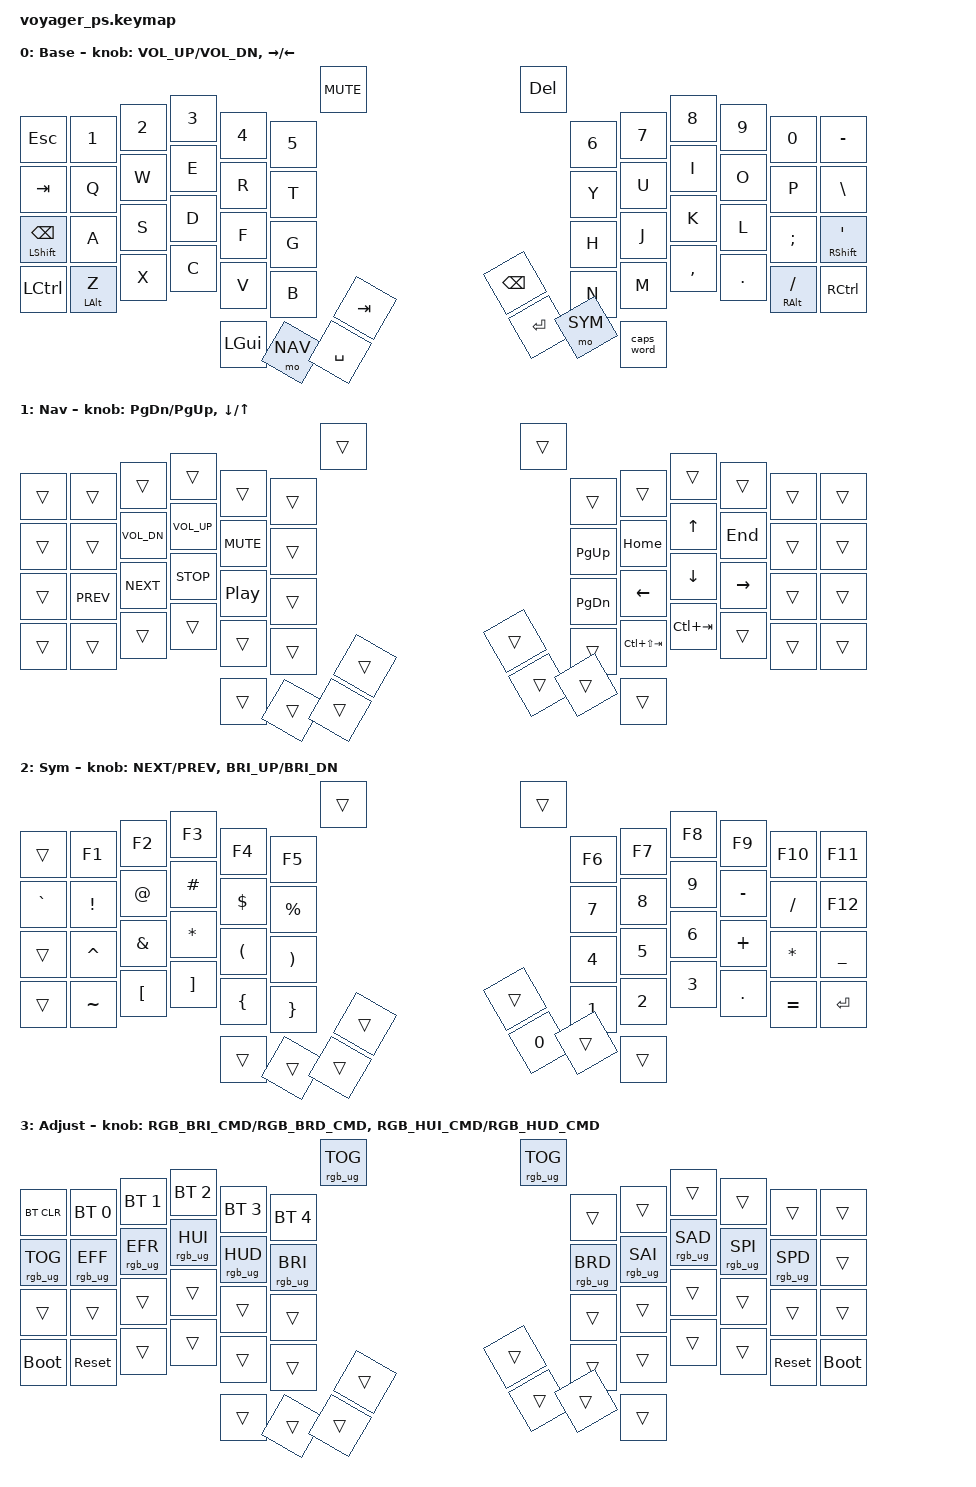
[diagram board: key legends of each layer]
#include <behaviors.dtsi>
#include <dt-bindings/zmk/keys.h>
#include <dt-bindings/zmk/bt.h>
#include <dt-bindings/zmk/rgb.h>

#define BASE 0
#define NAV  1
#define SYM  2
#define ADJ  3

/ {
    /*
     * RGB stepping for the ADJ-layer knobs. Stock &inc_dec_kp is bound to &kp;
     * this sibling is bound to &rgb_ug so each rotation tick fires an
     * RGB_*_CMD. Note that ZMK's behavior dispatcher rewrites RGB_BRI/RGB_BRD/
     * RGB_HUI/RGB_HUD into RGB_COLOR_HSB_CMD, which lands in set_hsb() —
     * upstream that path is RAM-only, so persistence depends on the
     * configure-time patch in firmware/zephyr/CMakeLists.txt. Without it,
     * brightness and hue reset on every boot.
     */
    behaviors {
        inc_dec_rgb: encoder_rgb {
            compatible = "zmk,behavior-sensor-rotate-var";
            #sensor-binding-cells = <2>;
            bindings = <&rgb_ug>, <&rgb_ug>;
        };

        /*
         * Balanced mod-tap for the Voyager-style dual keys (Shift/Bksp,
         * Shift/', Alt/Z, Alt//). "balanced" resolves as tap on fast rolls
         * (release the dual key first) and as hold when the other key is
         * pressed AND released within the tapping term — so quick capitals
         * still work mid-flow. quick-tap-ms lets tap-then-hold auto-repeat,
         * which Backspace needs.
         */
        mtb: mod_tap_balanced {
            compatible = "zmk,behavior-hold-tap";
            #binding-cells = <2>;
            flavor = "balanced";
            tapping-term-ms = <200>;
            quick-tap-ms = <175>;
            bindings = <&kp>, <&kp>;
        };
    };

    /* Hold both layer thumbs (NAV + SYM) to reach ADJ. */
    conditional_layers {
        compatible = "zmk,conditional-layers";
        adjust {
            if-layers = <NAV SYM>;
            then-layer = <ADJ>;
        };
    };

    /*
     * Encoders, by layer. Both knobs used to be bound identically on every
     * layer, so two knobs did one job. Now each side has its own role, and the
     * RGB controls moved to ADJ where the rest of them already live.
     *
     *   layer | left knob            | right knob
     *   ------+----------------------+-------------------------
     *   BASE  | volume up/down       | cursor right/left
     *   NAV   | page down/up         | cursor down/up
     *   SYM   | next/prev track      | screen brightness
     *   ADJ   | RGB brightness       | RGB hue
     *
     * Push-buttons: left = mute (pairs with the volume knob), right = Delete
     * (which is where Delete went when Backspace took its thumb key). On ADJ
     * both buttons are RGB on/off.
     *
     * Convention: clockwise is always the "more / forward" direction.
     */

    keymap {
        compatible = "zmk,keymap";

        default_layer {
            display-name = "Base";

            bindings = <
                &kp ESC         &kp N1      &kp N2  &kp N3    &kp N4   &kp N5        &kp N6    &kp N7  &kp N8     &kp N9     &kp N0         &kp MINUS
                &kp TAB         &kp Q       &kp W   &kp E     &kp R    &kp T         &kp Y     &kp U   &kp I      &kp O      &kp P          &kp BSLH
                &mtb LSHFT BSPC &kp A       &kp S   &kp D     &kp F    &kp G         &kp H     &kp J   &kp K      &kp L      &kp SEMI       &mtb RSHFT SQT
                &kp LCTRL       &mtb LALT Z &kp X   &kp C     &kp V    &kp B         &kp N     &kp M   &kp COMMA  &kp DOT    &mtb RALT FSLH &kp RCTRL
                &kp C_MUTE                  &kp LGUI &mo NAV  &kp SPACE &kp TAB      &kp BSPC  &kp RET &mo SYM    &caps_word                &kp DEL
            >;

            sensor-bindings = <&inc_dec_kp C_VOL_UP C_VOL_DN &inc_dec_kp RIGHT LEFT>;
        };

        nav_layer {
            display-name = "Nav";

            bindings = <
                &trans    &trans     &trans       &trans       &trans     &trans        &trans    &trans          &trans      &trans     &trans    &trans
                &trans    &trans     &kp C_VOL_DN &kp C_VOL_UP &kp C_MUTE &trans        &kp PG_UP &kp HOME        &kp UP      &kp END    &trans    &trans
                &trans    &kp C_PREV &kp C_NEXT   &kp C_STOP   &kp C_PP   &trans        &kp PG_DN &kp LEFT        &kp DOWN    &kp RIGHT  &trans    &trans
                &trans    &trans     &trans       &trans       &trans     &trans        &trans    &kp LC(LS(TAB)) &kp LC(TAB) &trans     &trans    &trans
                &trans               &trans       &trans       &trans     &trans        &trans    &trans          &trans      &trans               &trans
            >;

            sensor-bindings = <&inc_dec_kp PG_DN PG_UP &inc_dec_kp DOWN UP>;
        };

        sym_layer {
            display-name = "Sym";

            bindings = <
                &trans    &kp F1     &kp F2    &kp F3    &kp F4    &kp F5        &kp F6    &kp F7    &kp F8    &kp F9     &kp F10   &kp F11
                &kp GRAVE &kp EXCL   &kp AT    &kp HASH  &kp DLLR  &kp PRCNT     &kp N7    &kp N8    &kp N9    &kp MINUS  &kp FSLH  &kp F12
                &trans    &kp CARET  &kp AMPS  &kp ASTRK &kp LPAR  &kp RPAR      &kp N4    &kp N5    &kp N6    &kp PLUS   &kp ASTRK &kp UNDER
                &trans    &kp TILDE  &kp LBKT  &kp RBKT  &kp LBRC  &kp RBRC      &kp N1    &kp N2    &kp N3    &kp DOT    &kp EQUAL &kp RET
                &trans               &trans    &trans    &trans    &trans        &trans    &kp N0    &trans    &trans               &trans
            >;

            sensor-bindings = <&inc_dec_kp C_NEXT C_PREV &inc_dec_kp C_BRI_UP C_BRI_DN>;
        };

        adjust_layer {
            display-name = "Adjust";

            bindings = <
                &bt BT_CLR      &bt BT_SEL 0    &bt BT_SEL 1    &bt BT_SEL 2    &bt BT_SEL 3    &bt BT_SEL 4         &trans          &trans          &trans          &trans          &trans          &trans
                &rgb_ug RGB_TOG &rgb_ug RGB_EFF &rgb_ug RGB_EFR &rgb_ug RGB_HUI &rgb_ug RGB_HUD &rgb_ug RGB_BRI      &rgb_ug RGB_BRD &rgb_ug RGB_SAI &rgb_ug RGB_SAD &rgb_ug RGB_SPI &rgb_ug RGB_SPD &trans
                &trans          &trans          &trans          &trans          &trans          &trans               &trans          &trans          &trans          &trans          &trans          &trans
                &bootloader     &sys_reset      &trans          &trans          &trans          &trans               &trans          &trans          &trans          &trans          &sys_reset      &bootloader
                &rgb_ug RGB_TOG                 &trans          &trans          &trans          &trans               &trans          &trans          &trans          &trans                          &rgb_ug RGB_TOG
            >;

            sensor-bindings = <&inc_dec_rgb RGB_BRI_CMD RGB_BRD_CMD &inc_dec_rgb RGB_HUI_CMD RGB_HUD_CMD>;
        };
    };
};
